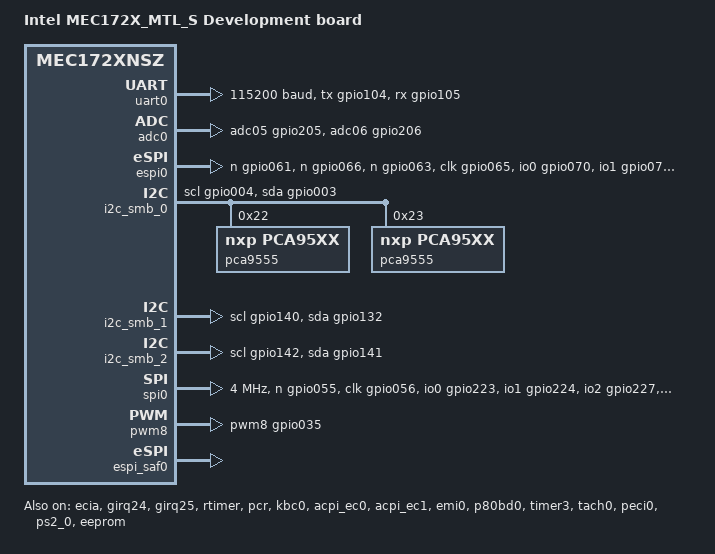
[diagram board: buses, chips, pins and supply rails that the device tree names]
/*
 * Copyright (c) 2022, Intel Corporation Inc.
 *
 * SPDX-License-Identifier: Apache-2.0
 */

/dts-v1/;

#include <microchip/mec172xnsz.dtsi>
#include <microchip/mec172x/mec172xnsz-pinctrl.dtsi>

/ {
	model = "Intel MEC172X_MTL_S Development board";
	compatible = "microchip,mec172x_mtl_s", "microchip,mec172xnsz";

	chosen {
		zephyr,sram = &sram0;
		zephyr,flash = &flash0;
		zephyr,console = &uart0;
	};

	aliases {
		pwm-0 = &pwm8;
		peci-0 = &peci0;
		i2c0 = &i2c_smb_0;
		i2c-0 = &i2c_smb_0;
		i2c1 = &i2c_smb_1;
		i2c7 = &i2c_smb_2;

	};

};

&cpu0 {
	clock-frequency = <96000000>;
	status = "okay";
};

/* Initialize ECIA. Does not initialize child devices */
&ecia {
	status = "okay";
};

/* Enable aggregated GIRQ24 and GIRQ25 for eSPI virtual wires interrupts */
&girq24 {
	status = "okay";
};

&girq25 {
	status = "okay";
};

&rtimer {
	status = "okay";
};

&pcr {
	status = "okay";
};

&uart0 {
	status = "okay";
	current-speed = <115200>;
	pinctrl-0 = <&uart0_tx_gpio104 &uart0_rx_gpio105>;
	pinctrl-names = "default";
};

&adc0 {
	status = "okay";
	pinctrl-0 = <&adc05_gpio205 &adc06_gpio206 >;
	pinctrl-names = "default";
};

&espi0 {
	status = "okay";
	pinctrl-0 = < &espi_reset_n_gpio061 &espi_cs_n_gpio066
		      &espi_alert_n_gpio063 &espi_clk_gpio065
		      &espi_io0_gpio070 &espi_io1_gpio071
		      &espi_io2_gpio072 &espi_io3_gpio073 >;
	pinctrl-names = "default";
};

/* enable various eSPI child devices (host facing) */
&kbc0 {
	status = "okay";
};

&acpi_ec0 {
	status = "okay";
};

&acpi_ec1 {
	status = "okay";
};

&emi0 {
	status = "okay";
};

&p80bd0 {
	status = "okay";
};

/* I2C */
&i2c_smb_0 {
	status = "okay";
	port_sel = <0>;

	pinctrl-0 = < &i2c00_scl_gpio004 &i2c00_sda_gpio003 >;
	pinctrl-names = "default";

	pca9555@22 {
		compatible = "nxp,pca95xx";

		/* Depends on JP53 for device address.
		 * Pin 1-2 = A0, pin 3-4 = A1, pin 5-6 = A2.
		 * Address is: 0100<A2><A1><A0>b.
		 *
		 * Default has pin 1-2 on JP53 connected,
		 * resulting in device address 0x26.
		 */
		reg = <0x22>;

		gpio-controller;
		#gpio-cells = <2>;
	};

	pca9555@23 {
		compatible = "nxp,pca95xx";

		/* Depends on JP53 for device address.
		 * Pin 1-2 = A0, pin 3-4 = A1, pin 5-6 = A2.
		 * Address is: 0100<A2><A1><A0>b.
		 *
		 * Default has pin 1-2 on JP53 connected,
		 * resulting in device address 0x26.
		 */
		reg = <0x23>;

		gpio-controller;
		#gpio-cells = <2>;
	};
};

&i2c00_scl_gpio004 {
	drive-open-drain;
	output-high;
};

&i2c00_sda_gpio003 {
	drive-open-drain;
	output-high;
};

&i2c_smb_1 {
	status = "okay";
	port_sel = <6>;
	pinctrl-0 = <&i2c06_scl_gpio140 &i2c06_sda_gpio132 >;
	pinctrl-names = "default";
};

&i2c06_scl_gpio140 {
	drive-open-drain;
	output-high;
};

&i2c06_sda_gpio132 {
	drive-open-drain;
	output-high;
};

&i2c_smb_2 {
	status = "okay";
	port_sel = <5>;
	pinctrl-0 = <&i2c05_scl_gpio142 &i2c05_sda_gpio141>;
	pinctrl-names = "default";
};

&i2c05_scl_gpio142 {
	drive-open-drain;
	output-high;
};

&i2c05_sda_gpio141 {
	drive-open-drain;
	output-high;
};

&spi0 {
	status = "okay";
	clock-frequency = <4000000>;
	lines = <4>;
	chip_select = <0>;
	port_sel = <0>; /* Shared SPI */

	pinctrl-0 = < &shd_cs0_n_gpio055
		      &shd_clk_gpio056
		      &shd_io0_gpio223
		      &shd_io1_gpio224
		      &shd_io2_gpio227
		      &shd_io3_gpio016 >;
	pinctrl-names = "default";
};

&shd_cs0_n_gpio055 {
	output-high;
};

&timer3 {
	status = "okay";
};

&kscan0 {
	status = "disabled";

	pinctrl-0 = < &ksi0_gpio017
		      &ksi1_gpio020
		      &ksi2_gpio021
		      &ksi3_gpio026
		      &ksi4_gpio027
		      &ksi5_gpio030
		      &ksi6_gpio031
		      &ksi7_gpio032
		      &kso00_gpio040
		      &kso01_gpio045
		      &kso02_gpio046
		      &kso03_gpio047
		      &kso04_gpio107
		      &kso05_gpio112
		      &kso06_gpio113
		      &kso07_gpio120
		      &kso08_gpio121
		      &kso09_gpio122
		      &kso10_gpio123
		      &kso11_gpio124
		      &kso12_gpio125
		      &kso13_gpio126 >;
	pinctrl-names = "default";
};

&pwm8 {
	status = "okay";
	pinctrl-0 = < &pwm8_gpio035 >;
	pinctrl-names = "default";
};

&tach0 {
	status = "okay";
	pinctrl-0 = < &tach0_gpio050 >;
	pinctrl-names = "default";
};

&peci0 {
	status = "okay";

	pinctrl-0 = < &peci_dat_gpio042 &vref_vtt_gpio044 >;
	pinctrl-names = "default";
};

&ps2_0 {
	status = "okay";

	pinctrl-0 = < &ps2_clk0b_gpio007 &ps2_dat0b_gpio010 >;
	pinctrl-names = "default";
};

&espi_saf0 {
	status = "okay";
};

&eeprom {
	status = "okay";

	pinctrl-0 = <&eeprom_cs_gpio116
		      &eeprom_clk_gpio117
		      &eeprom_mosi_gpio074
		      &eeprom_miso_gpio075>;
	pinctrl-names = "default";
};
